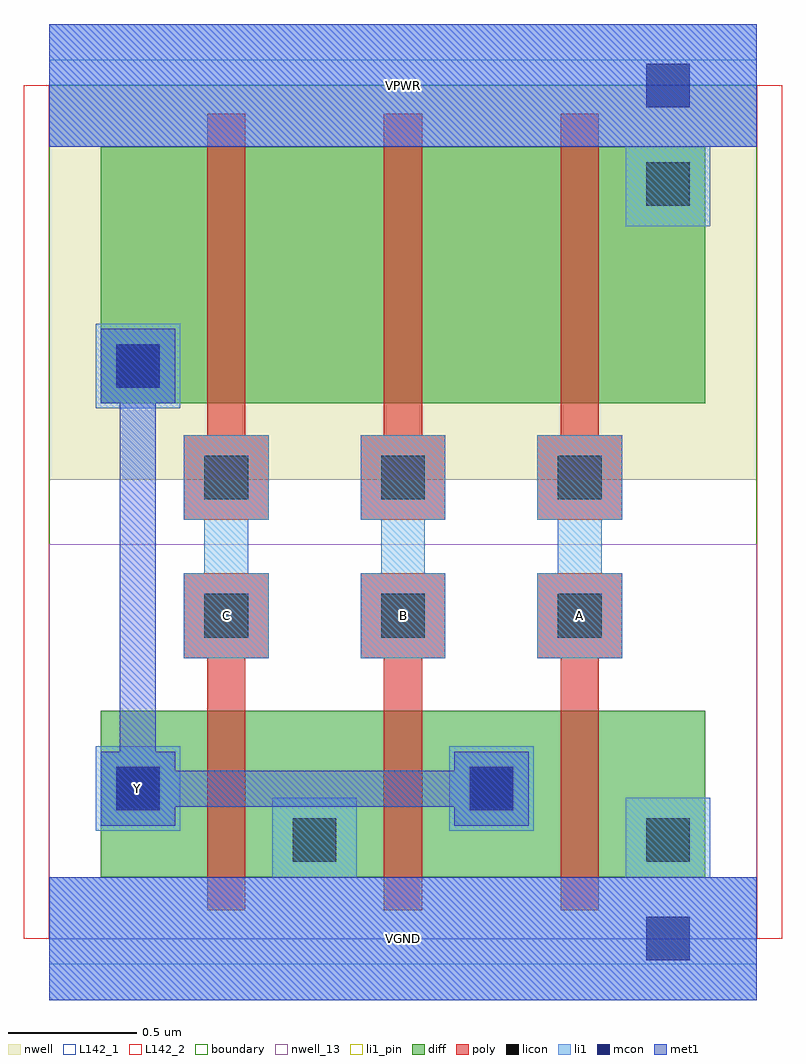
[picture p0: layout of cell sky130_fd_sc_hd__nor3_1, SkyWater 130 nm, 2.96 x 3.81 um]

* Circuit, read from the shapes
.subckt sky130_fd_sc_hd__nor3_1 A B C VGND VPWR Y
XM1 VGND C Y VSUBS sky130_fd_pr__nfet_01v8 w=0.65 l=0.15
XM2 Y B VGND VSUBS sky130_fd_pr__nfet_01v8 w=0.65 l=0.15
XM3 VGND A Y VSUBS sky130_fd_pr__nfet_01v8 w=0.65 l=0.15
XM4 n1 C Y n2 sky130_fd_pr__pfet_01v8 w=1 l=0.15
XM5 n3 B n1 n2 sky130_fd_pr__pfet_01v8 w=1 l=0.15
XM6 VPWR A n3 n2 sky130_fd_pr__pfet_01v8 w=1 l=0.15
.ends

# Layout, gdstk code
import gdstk
lib = gdstk.Library(unit=1e-6, precision=1e-09)
def R(c, l, rs):  # rectangles x0, y0, x1, y1
    for r in rs: c.add(gdstk.rectangle(r[:2], r[2:], *l))
def A(c, l, x, y, w, h, nx, ny, dx, dy):  # array of equal rectangles
    R(c, l, [(x+i*dx, y+j*dy, x+i*dx+w, y+j*dy+h) for i in range(nx) for j in range(ny)])
def P(c, l, *ps):  # polygons
    for p in ps: c.add(gdstk.Polygon(p, *l))
nwell_13 = (64, 13)
nwell = (64, 20)
diff = (65, 20)
poly = (66, 20)
licon = (66, 44)
li1_pin = (67, 16)
li1 = (67, 20)
mcon = (67, 44)
met1 = (68, 20)
L142_1 = (142, 1)
L142_2 = (142, 2)
boundary = (235, 4)

sky130_fd_sc_hd__nor3_1 = lib.new_cell('sky130_fd_sc_hd__nor3_1')
R(sky130_fd_sc_hd__nor3_1, nwell_13, [(0,0,2.76,1.54)])
R(sky130_fd_sc_hd__nor3_1, nwell, [(0,1.79,2.76,3.33)])
R(sky130_fd_sc_hd__nor3_1, diff, [(0.2,0.24,2.56,0.89), (0.2,0.24,0.615,0.89), (0.615,0.24,1.305,0.89), (1.305,0.24,1.995,0.89), (1.995,0.24,2.56,0.89), (0.2,2.09,2.56,3.09), (0.2,2.09,0.615,3.09), (0.615,2.09,1.305,3.09), (1.305,2.09,1.995,3.09), (1.995,2.09,2.56,3.09)])
P(sky130_fd_sc_hd__nor3_1, poly, [(1.305,0.11),(1.305,1.095),(1.215,1.095),(1.215,1.425),(1.545,1.425),(1.545,1.095),(1.455,1.095),(1.455,0.11)],
  [(1.215,1.635),(1.215,1.965),(1.305,1.965),(1.305,3.22),(1.455,3.22),(1.455,1.965),(1.545,1.965),(1.545,1.635)],
  [(0.615,0.11),(0.615,1.095),(0.525,1.095),(0.525,1.425),(0.855,1.425),(0.855,1.095),(0.765,1.095),(0.765,0.11)],
  [(0.525,1.635),(0.525,1.965),(0.615,1.965),(0.615,3.22),(0.765,3.22),(0.765,1.965),(0.855,1.965),(0.855,1.635)],
  [(1.995,0.11),(1.995,1.095),(1.905,1.095),(1.905,1.425),(2.235,1.425),(2.235,1.095),(2.145,1.095),(2.145,0.11)],
  [(1.905,1.635),(1.905,1.965),(1.995,1.965),(1.995,3.22),(2.145,3.22),(2.145,1.965),(2.235,1.965),(2.235,1.635)])
A(sky130_fd_sc_hd__nor3_1, licon, 0.605, 1.175, 0.17, 0.17, 3, 2, 0.69, 0.54)
R(sky130_fd_sc_hd__nor3_1, licon, [(0.95,0.3,1.12,0.47), (2.33,0.3,2.5,0.47), (0.26,0.5,0.43,0.67), (1.64,0.5,1.81,0.67), (0.26,2.15,0.43,2.32), (2.33,2.86,2.5,3.03)])
R(sky130_fd_sc_hd__nor3_1, li1_pin, [(0,-0.24,2.76,0.24), (0.18,0.42,0.51,0.75), (0,3.09,2.76,3.57)])
P(sky130_fd_sc_hd__nor3_1, li1_pin, [(1.905,1.095),(1.905,1.425),(1.985,1.425),(1.985,1.635),(1.905,1.635),(1.905,1.965),(2.235,1.965),(2.235,1.635),(2.155,1.635),(2.155,1.425),(2.235,1.425),(2.235,1.095)],
  [(0.525,1.095),(0.525,1.425),(0.605,1.425),(0.605,1.635),(0.525,1.635),(0.525,1.965),(0.855,1.965),(0.855,1.635),(0.775,1.635),(0.775,1.425),(0.855,1.425),(0.855,1.095)],
  [(1.215,1.095),(1.215,1.425),(1.295,1.425),(1.295,1.635),(1.215,1.635),(1.215,1.965),(1.545,1.965),(1.545,1.635),(1.465,1.635),(1.465,1.425),(1.545,1.425),(1.545,1.095)])
R(sky130_fd_sc_hd__nor3_1, li1, [(0.18,0.42,0.51,0.75), (1.56,0.42,1.89,0.75), (0.18,2.07,0.51,2.4)])
P(sky130_fd_sc_hd__nor3_1, li1, [(1.215,1.095),(1.215,1.425),(1.295,1.425),(1.295,1.635),(1.215,1.635),(1.215,1.965),(1.545,1.965),(1.545,1.635),(1.465,1.635),(1.465,1.425),(1.545,1.425),(1.545,1.095)],
  [(2.25,2.78),(2.25,3.09),(0,3.09),(0,3.57),(2.76,3.57),(2.76,3.09),(2.58,3.09),(2.58,2.78)],
  [(0.525,1.095),(0.525,1.425),(0.605,1.425),(0.605,1.635),(0.525,1.635),(0.525,1.965),(0.855,1.965),(0.855,1.635),(0.775,1.635),(0.775,1.425),(0.855,1.425),(0.855,1.095)],
  [(0,-0.24),(0,0.24),(0.87,0.24),(0.87,0.55),(1.2,0.55),(1.2,0.24),(2.25,0.24),(2.25,0.55),(2.58,0.55),(2.58,0.24),(2.76,0.24),(2.76,-0.24)],
  [(1.905,1.095),(1.905,1.425),(1.985,1.425),(1.985,1.635),(1.905,1.635),(1.905,1.965),(2.235,1.965),(2.235,1.635),(2.155,1.635),(2.155,1.425),(2.235,1.425),(2.235,1.095)])
R(sky130_fd_sc_hd__nor3_1, mcon, [(2.33,-0.085,2.5,0.085), (0.26,0.5,0.43,0.67), (1.64,0.5,1.81,0.67), (0.26,2.15,0.43,2.32), (2.33,3.245,2.5,3.415)])
R(sky130_fd_sc_hd__nor3_1, met1, [(0,-0.24,2.76,0.24), (0,3.09,2.76,3.57)])
P(sky130_fd_sc_hd__nor3_1, met1, [(0.2,0.44),(0.2,0.73),(0.275,0.73),(0.275,2.09),(0.2,2.09),(0.2,2.38),(0.49,2.38),(0.49,2.09),(0.415,2.09),(0.415,0.73),(0.49,0.73),(0.49,0.655),(1.58,0.655),(1.58,0.73),(1.87,0.73),(1.87,0.44),(1.58,0.44),(1.58,0.515),(0.49,0.515),(0.49,0.44)])
R(sky130_fd_sc_hd__nor3_1, L142_1, [(0,-0.1,2.76,0), (0,3.33,2.76,3.43)])
R(sky130_fd_sc_hd__nor3_1, L142_2, [(-0.1,0,0,3.33), (2.76,0,2.86,3.33)])
R(sky130_fd_sc_hd__nor3_1, boundary, [(0,0,2.76,3.33)])
sky130_fd_sc_hd__nor3_1.add(gdstk.Label('Y', (0.345,0.585), layer=67, texttype=5))
sky130_fd_sc_hd__nor3_1.add(gdstk.Label('A', (2.07,1.26), layer=67, texttype=5))
sky130_fd_sc_hd__nor3_1.add(gdstk.Label('C', (0.69,1.26), layer=67, texttype=5))
sky130_fd_sc_hd__nor3_1.add(gdstk.Label('B', (1.38,1.26), layer=67, texttype=5))
sky130_fd_sc_hd__nor3_1.add(gdstk.Label('VGND', (1.38,0), layer=67, texttype=5))
sky130_fd_sc_hd__nor3_1.add(gdstk.Label('VPWR', (1.38,3.33), layer=67, texttype=5))
sky130_fd_sc_hd__nor3_1.add(gdstk.Label('VGND', (1.38,0), layer=68, texttype=5))
sky130_fd_sc_hd__nor3_1.add(gdstk.Label('VPWR', (1.38,3.33), layer=68, texttype=5))

lib.write_gds('sky130_fd_sc_hd__nor3_1.gds')
